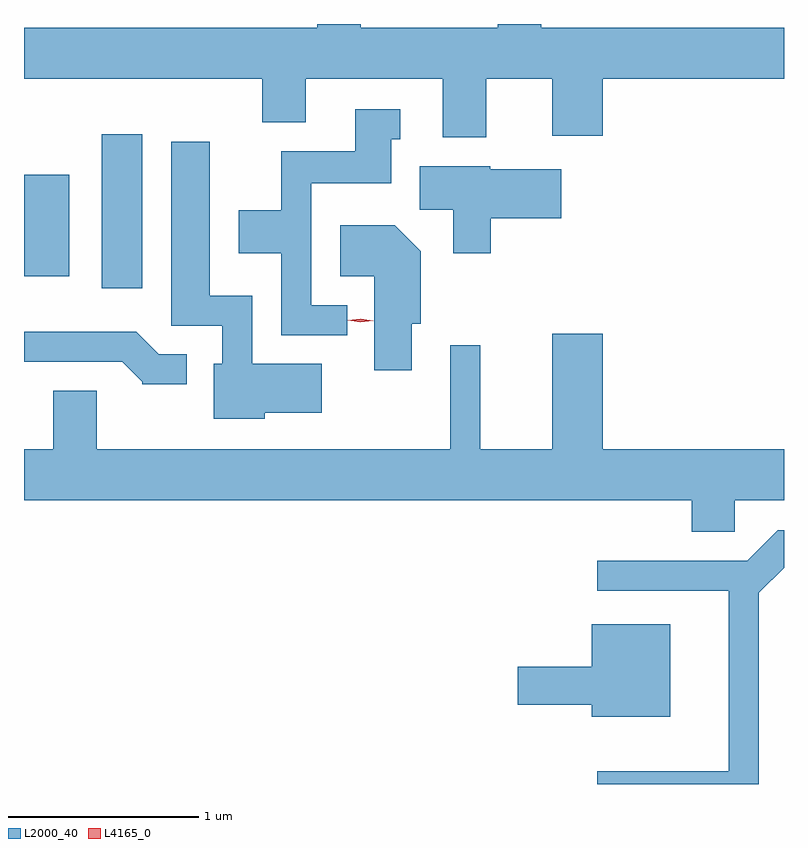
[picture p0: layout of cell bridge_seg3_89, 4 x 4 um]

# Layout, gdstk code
import gdstk
lib = gdstk.Library(unit=1e-6, precision=1e-09)
def R(c, l, rs):  # rectangles x0, y0, x1, y1
    for r in rs: c.add(gdstk.rectangle(r[:2], r[2:], *l))
def P(c, l, *ps):  # polygons
    for p in ps: c.add(gdstk.Polygon(p, *l))
L2000_40 = (2000, 40)
L4165_0 = (4165, 0)

bridge_seg3_89 = lib.new_cell('bridge_seg3_89')
R(bridge_seg3_89, L2000_40, [(1151.766,1124.911,1151.979,1125.724), (1151.357,1124.976,1151.594,1125.509)])
P(bridge_seg3_89, L2000_40, [(1151.357,1126.016),(1152.611,1126.016),(1152.611,1125.786),(1152.839,1125.786),(1152.839,1126.016),(1153.561,1126.016),(1153.561,1125.706),(1153.789,1125.706),(1153.789,1126.016),(1154.136,1126.016),(1154.136,1125.716),(1154.404,1125.716),(1154.404,1126.016),(1155.357,1126.016),(1155.357,1126.284),(1154.079,1126.284),(1154.079,1126.303),(1153.851,1126.303),(1153.851,1126.284),(1153.129,1126.284),(1153.129,1126.303),(1152.901,1126.303),(1152.901,1126.284),(1151.357,1126.284)],
  [(1153.058,1124.824),(1152.869,1124.824),(1152.869,1125.466),(1153.289,1125.466),(1153.289,1125.696),(1153.338,1125.696),(1153.338,1125.854),(1153.101,1125.854),(1153.101,1125.634),(1152.711,1125.634),(1152.711,1125.324),(1152.486,1125.324),(1152.486,1125.096),(1152.711,1125.096),(1152.711,1124.666),(1153.058,1124.666)],
  [(1152.624,1124.256),(1152.924,1124.256),(1152.924,1124.514),(1152.559,1124.514),(1152.559,1124.874),(1152.334,1124.874),(1152.334,1125.684),(1152.131,1125.684),(1152.131,1124.716),(1152.401,1124.716),(1152.401,1124.514),(1152.356,1124.514),(1152.356,1124.226),(1152.624,1124.226)],
  [(1153.814,1125.281),(1154.184,1125.281),(1154.184,1125.539),(1153.81,1125.539),(1153.81,1125.554),(1153.441,1125.554),(1153.441,1125.326),(1153.616,1125.326),(1153.616,1125.096),(1153.814,1125.096)],
  [(1153.399,1124.726),(1153.444,1124.726),(1153.444,1125.107),(1153.307,1125.244),(1153.021,1125.244),(1153.021,1124.976),(1153.201,1124.976),(1153.201,1124.481),(1153.399,1124.481)],
  [(1152.213,1124.564),(1152.067,1124.564),(1151.947,1124.684),(1151.357,1124.684),(1151.357,1124.526),(1151.874,1124.526),(1151.98,1124.42),(1151.98,1124.406),(1152.213,1124.406)],
  [(1155.099,1123.796),(1155.357,1123.796),(1155.357,1124.064),(1154.404,1124.064),(1154.404,1124.674),(1154.136,1124.674),(1154.136,1124.064),(1153.759,1124.064),(1153.759,1124.613),(1153.601,1124.613),(1153.601,1124.064),(1151.739,1124.064),(1151.739,1124.374),(1151.511,1124.374),(1151.511,1124.064),(1151.357,1124.064),(1151.357,1123.796),(1154.871,1123.796),(1154.871,1123.631),(1155.099,1123.631)],
  [(1155.224,1123.309),(1155.357,1123.441),(1155.357,1123.639),(1155.324,1123.639),(1155.164,1123.479),(1154.373,1123.479),(1154.373,1123.321),(1155.066,1123.321),(1155.066,1122.369),(1154.373,1122.369),(1154.373,1122.303),(1155.224,1122.303)],
  [(1154.759,1123.144),(1154.346,1123.144),(1154.346,1122.919),(1153.956,1122.919),(1153.956,1122.721),(1154.346,1122.721),(1154.346,1122.656),(1154.759,1122.656)])
P(bridge_seg3_89, L4165_0, [(1153.128,1124.733),(1153.062,1124.744),(1153.062,1124.744),(1153.062,1124.745),(1153.129,1124.753),(1153.194,1124.742),(1153.195,1124.742),(1153.194,1124.741)])

lib.write_gds('bridge_seg3_89.gds')
